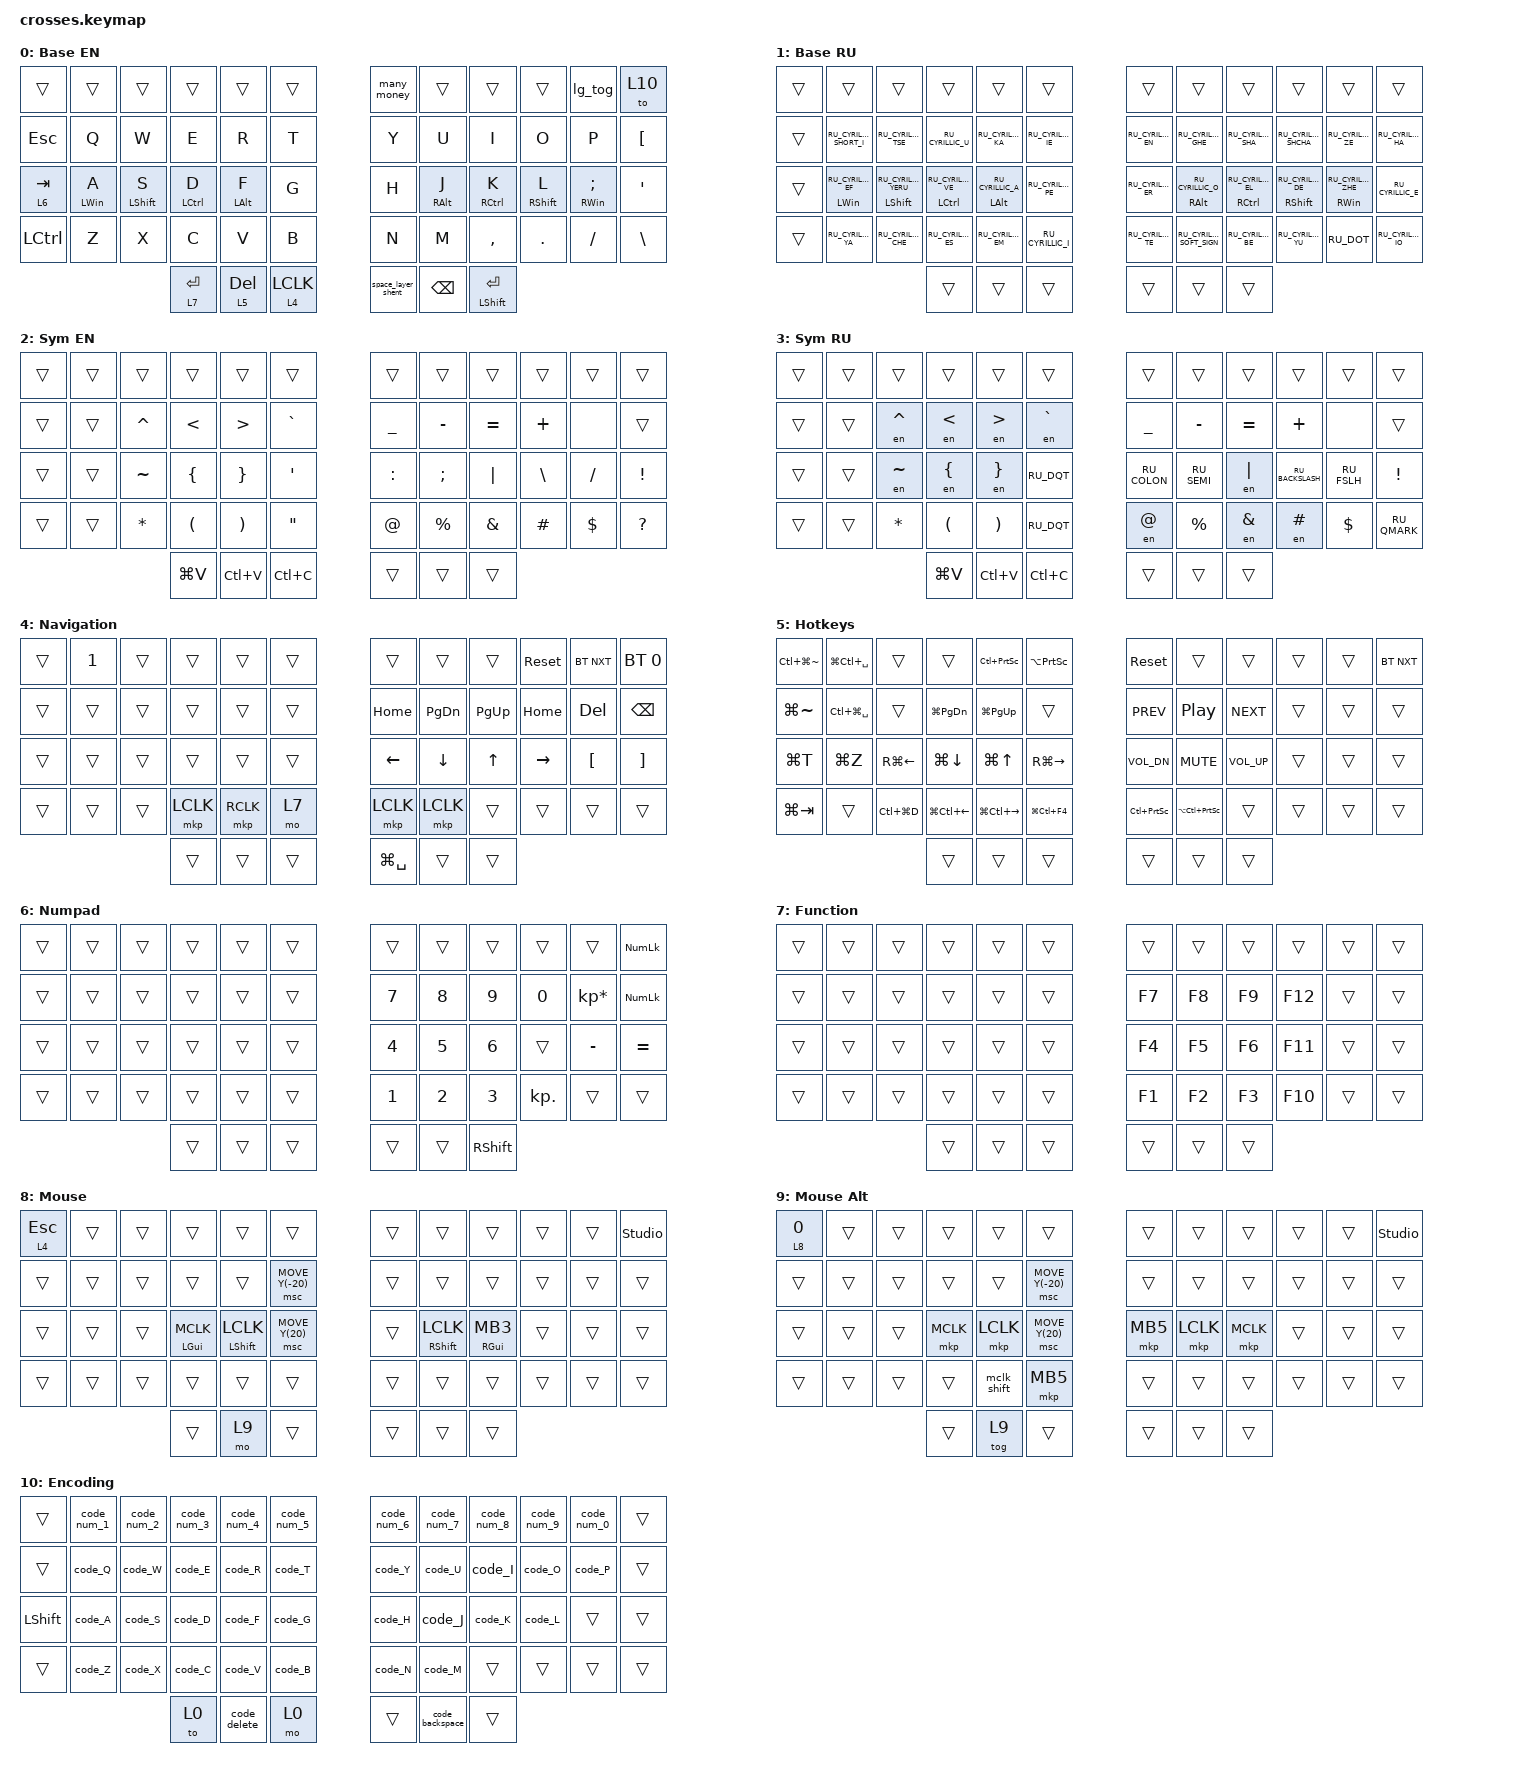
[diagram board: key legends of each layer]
#include "keys_ru.h"
#include <input/processors.dtsi>
#include <dt-bindings/zmk/input_transform.h>
#include <dt-bindings/zmk/modifiers.h>
#include <behaviors.dtsi>
#include <dt-bindings/zmk/bt.h>
#include <dt-bindings/zmk/keys.h>
#include <dt-bindings/zmk/pointing.h>
#include <dt-bindings/zmk/mouse.h>
#include <zephyr/dt-bindings/input/input-event-codes.h>

&trackball_peripheral_split {
    input-processors = <&zip_ble_report_rate_limit>;
};

/ {
    /omit-if-no-ref/ zip_temp_layer: zip_temp_layer {
        compatible = "zmk,input-processor-temp-layer";
        #input-processor-cells = <2>;
        require-prior-idle-ms = <500>;
    };
};

&trackball_central_listener {
    input-processors = <&zip_temp_layer 8 350>, <&zip_ble_report_rate_limit>;
};

&msc {
    x-input-code = <INPUT_REL_HWHEEL>;
    y-input-code = <INPUT_REL_WHEEL>;
    time-to-max-speed-ms = <800>;
    acceleration-exponent = <5>;
    trigger-period-ms = <8>;
};

/ {
    chosen { zmk,physical-layout = &gggw_crosses_54_layout; };

    behaviors {
        space_layer_shent: space_layer_shent {
            compatible = "zmk,behavior-tap-dance";
            label = "SPACE_LAYER_SHENT";
            #binding-cells = <0>;
            bindings = <&lt 4 SPACE>, <&kp LS(ENTER)>;
        };

        td_M: td_M {
            compatible = "zmk,behavior-tap-dance";
            label = "TD_M";
            #binding-cells = <0>;
            bindings = <&kp M>, <&kp RIGHT_BRACKET>;
        };

        lt_mkp: lt_mkp {
            compatible = "zmk,behavior-hold-tap";
            label = "LT_MKP";
            #binding-cells = <2>;
            flavor = "tap-preferred";
            tapping-term-ms = <200>;
            quick-tap-ms = <200>;
            require-prior-idle-ms = <125>;
            bindings = <&mo>, <&mkp>;
        };

        hrm_right: hrm_right {
            compatible = "zmk,behavior-hold-tap";
            label = "HRM_RIGHT";
            bindings = <&kp>, <&kp>;

            #binding-cells = <2>;
            tapping-term-ms = <200>;
            quick-tap-ms = <200>;
            require-prior-idle-ms = <125>;
            flavor = "tap-preferred";
            hold-trigger-key-positions = <0 1 2 4 5 3 12 13 14 15 16 17 29 28 27 26 25 24 36 37 38 39 40 41 48 49 50>;
            hold-trigger-on-release;
        };

        hrm_left: hrm_left {
            compatible = "zmk,behavior-hold-tap";
            label = "HRM_LEFT";
            bindings = <&kp>, <&kp>;

            #binding-cells = <2>;
            tapping-term-ms = <200>;
            quick-tap-ms = <200>;
            require-prior-idle-ms = <125>;
            flavor = "tap-preferred";
            hold-trigger-key-positions = <47 7 20 9 21 33 33 46 34 22 10 11 23 35 45 8 32 44 43 42 30 31 19 18 6 51 52 53>;
            hold-trigger-on-release;
        };

        backspace: backspace {
            compatible = "zmk,behavior-tap-dance";
            label = "BACKSPACE";
            #binding-cells = <0>;
            bindings = <&mt BACKSPACE BACKSPACE>, <&kp LC(BACKSPACE)>;
        };

        code_backspace: code_backspace {
            compatible = "zmk,behavior-macro";
            label = "CODE_BACKSPACE";
            #binding-cells = <0>;
            bindings = <&kp BACKSPACE &kp BACKSPACE &kp BACKSPACE &kp BACKSPACE>;
        };

        code_delete: code_delete {
            compatible = "zmk,behavior-macro";
            label = "CODE_DELETE";
            #binding-cells = <0>;
            bindings = <&kp DELETE &kp DELETE &kp DELETE &kp DELETE>;
        };

        lg_space: lg_space {
            compatible = "zmk,behavior-mod-morph";
            label = "LG_SPACE";
            #binding-cells = <0>;
            bindings = <&kp SPACE>, <&lg_tog>;

            mods = <(MOD_LGUI)>;
        };

        // DPI кнопки трекбола с зажатым Shift.
        mclk_shift: mclk_shift {
            compatible = "zmk,behavior-macro";
            #binding-cells = <0>;
            bindings = <&macro_press &kp LSHFT &mkp MCLK>,
                       <&macro_pause_for_release>,
                       <&macro_release &mkp MCLK &kp LSHFT>;
        };

        // Hold-Tap для сочетаний GUI/Shift + mouse-click.
        mclk_gui: mclk_gui {
            compatible = "zmk,behavior-hold-tap";
            #binding-cells = <2>;
            flavor = "balanced";
            tapping-term-ms = <200>;
            bindings = <&kp>, <&mkp>;
        };
    };

    combos {
        compatible = "zmk,combos";

        num_lauer {
            bindings = <&mo 6>;
            key-positions = <50 49>;
            timeout-ms = <200>;
            require-prior-idle-ms = <100>;
            slow-release;
        };

        en_sym {
            bindings = <&mo 2>;
            key-positions = <48 49>;
            timeout-ms = <120>;
            require-prior-idle-ms = <200>;
            slow-release;
            layers = <0>;
        };

        lang {
            bindings = <&lg_tog>;
            key-positions = <36 50>;
            timeout-ms = <150>;
        };

        ru_sym {
            bindings = <&mo 3>;
            key-positions = <48 49>;
            timeout-ms = <120>;
            slow-release;
            require-prior-idle-ms = <200>;
            layers = <1>;
        };

        rclk_combo {
            bindings = <&mkp LCLK>;
            key-positions = <19 20>;
        };

        lclk_combo {
            bindings = <&mkp RCLK>;
            key-positions = <19 21>;
        };

        terminal {
            bindings = <&kp LG(GRAVE)>;
            key-positions = <16 0>;
            timeout-ms = <150>;
            layers = <0>;
        };
    };

    macros {
        many_money: many_money {
            compatible = "zmk,behavior-macro";
            #binding-cells = <0>;
            bindings = <&none &kp LS(D) &kp O &kp C &kp K &kp E &kp R &kp SPACE &kp C &kp O &kp M &kp P &kp O &kp S &kp E &kp SPACE &kp LS(U) &kp LS(P) &kp SPACE &kp MINUS &kp D &kp SPACE &kp N7 &kp N2 &kp N3 &kp N0 &kp N5>;
            label = "MANY_MONEY";
        };

        lg_tog: lg_tog {
            compatible = "zmk,behavior-macro";
            #binding-cells = <0>;
            label = "LG_TOG";
            bindings = <&kp LG(SPACE) &tog 1>;
            tap-ms = <30>;
            wait-ms = <0>;
        };

        to_ru: to_ru {
            compatible = "zmk,behavior-macro";
            #binding-cells = <0>;
            bindings = <&kp LG(SPACE)>;
            label = "TO_RU";
            wait-ms = <0>;
            tap-ms = <30>;
        };

        to_en: to_en {
            compatible = "zmk,behavior-macro";
            #binding-cells = <0>;
            bindings = <&kp LG(SPACE)>;
            label = "TO_EN";
            wait-ms = <0>;
            tap-ms = <30>;
        };

        layer_en: layer_en {
            compatible = "zmk,behavior-macro";
            #binding-cells = <0>;
            bindings = <&to 0 &to_en>;
            label = "LAYER_EN";
            wait-ms = <0>;
            tap-ms = <30>;
        };

        layer_ru: layer_ru {
            compatible = "zmk,behavior-macro";
            #binding-cells = <0>;
            bindings = <&to 1 &to_ru>;
            label = "LAYER_RU";
            tap-ms = <30>;
            wait-ms = <0>;
        };

        en: en {
            compatible = "zmk,behavior-macro-one-param";
            #binding-cells = <1>;
            bindings =
                <&to_en>,
                <&macro_press>,
                <&macro_param_1to1 &kp MACRO_PLACEHOLDER>,
                <&macro_pause_for_release>,
                <&macro_release>,
                <&macro_param_1to1 &kp MACRO_PLACEHOLDER>,
                <&macro_tap>,
                <&to_ru>;

            label = "EN";
            wait-ms = <0>;
            tap-ms = <30>;
        };

        #include "encoding_macros.dtsi"
    };

    keymap {
        compatible = "zmk,keymap";

        base_en {
            display-name = "Base EN";
            bindings = <
&trans      &trans                &trans                  &trans             &trans                &trans          &many_money         &trans                  &trans                &trans                    &lg_tog                         &to 10
&kp ESCAPE  &kp Q                 &kp W                   &kp E              &kp R                 &kp T           &kp Y               &kp U                   &kp I                 &kp O                     &kp P                           &kp LEFT_BRACKET
&lt 6 TAB   &hrm_left LEFT_WIN A  &hrm_left LEFT_SHIFT S  &hrm_left LCTRL D  &hrm_left LEFT_ALT F  &kp G           &kp H               &hrm_right RIGHT_ALT J  &hrm_right RCTRL K    &hrm_right RIGHT_SHIFT L  &hrm_right RIGHT_WIN SEMICOLON  &kp SQT
&kp LCTRL   &kp Z                 &kp X                   &kp C              &kp V                 &kp B           &kp N               &kp M                   &kp COMMA             &kp DOT                   &kp FSLH                        &kp BACKSLASH
                                                          &lt 7 ENTER        &lt 5 DEL             &lt_mkp 4 LCLK  &space_layer_shent  &kp BACKSPACE           &mt LEFT_SHIFT ENTER
            >;
        };

        base_ru {
            display-name = "Base RU";
            bindings = <
&trans  &trans                             &trans                                 &trans                          &trans                            &trans              &trans              &trans                              &trans                           &trans                                 &trans                                &trans
&trans  &kp RU_CYRILLIC_SHORT_I            &kp RU_CYRILLIC_TSE                    &kp RU_CYRILLIC_U               &kp RU_CYRILLIC_KA                &kp RU_CYRILLIC_IE  &kp RU_CYRILLIC_EN  &kp RU_CYRILLIC_GHE                 &kp RU_CYRILLIC_SHA              &kp RU_CYRILLIC_SHCHA                  &kp RU_CYRILLIC_ZE                    &kp RU_CYRILLIC_HA
&trans  &hrm_left LEFT_WIN RU_CYRILLIC_EF  &hrm_left LEFT_SHIFT RU_CYRILLIC_YERU  &hrm_left LCTRL RU_CYRILLIC_VE  &hrm_left LEFT_ALT RU_CYRILLIC_A  &kp RU_CYRILLIC_PE  &kp RU_CYRILLIC_ER  &hrm_right RIGHT_ALT RU_CYRILLIC_O  &hrm_right RCTRL RU_CYRILLIC_EL  &hrm_right RIGHT_SHIFT RU_CYRILLIC_DE  &hrm_right RIGHT_WIN RU_CYRILLIC_ZHE  &kp RU_CYRILLIC_E
&trans  &kp RU_CYRILLIC_YA                 &kp RU_CYRILLIC_CHE                    &kp RU_CYRILLIC_ES              &kp RU_CYRILLIC_EM                &kp RU_CYRILLIC_I   &kp RU_CYRILLIC_TE  &kp RU_CYRILLIC_SOFT_SIGN           &kp RU_CYRILLIC_BE               &kp RU_CYRILLIC_YU                     &kp RU_DOT                            &kp RU_CYRILLIC_IO
                                                                                  &trans                          &trans                            &trans              &trans              &trans                              &trans
            >;
        };

        sym_en {
            display-name = "Sym EN";
            bindings = <
&trans  &trans  &trans        &trans     &trans     &trans     &trans     &trans       &trans     &trans    &trans      &trans
&trans  &trans  &kp CARET     &kp LT     &kp GT     &kp GRAVE  &kp UNDER  &kp MINUS    &kp EQUAL  &kp PLUS  &none       &trans
&trans  &trans  &kp TILDE     &kp LBRC   &kp RBRC   &kp SQT    &kp COLON  &kp SEMI     &kp PIPE   &kp BSLH  &kp FSLH    &kp EXCL
&trans  &trans  &kp ASTERISK  &kp LPAR   &kp RPAR   &kp DQT    &kp AT     &kp PERCENT  &kp AMPS   &kp HASH  &kp DOLLAR  &kp QUESTION
                              &kp LG(V)  &kp LC(V)  &kp LC(C)  &trans     &trans       &trans
            >;
        };

        sym_ru {
            display-name = "Sym RU";
            bindings = <
&trans  &trans  &trans     &trans     &trans     &trans      &trans        &trans       &trans     &trans            &trans       &trans
&trans  &trans  &en CARET  &en LT     &en GT     &en GRAVE   &kp UNDER     &kp MINUS    &kp EQUAL  &kp PLUS          &none        &trans
&trans  &trans  &en TILDE  &en LBRC   &en RBRC   &kp RU_DQT  &kp RU_COLON  &kp RU_SEMI  &en PIPE   &kp RU_BACKSLASH  &kp RU_FSLH  &kp EXCL
&trans  &trans  &kp STAR   &kp LPAR   &kp RPAR   &kp RU_DQT  &en AT        &kp PRCNT    &en AMPS   &en HASH          &kp DOLLAR   &kp RU_QMARK
                           &kp LG(V)  &kp LC(V)  &kp LC(C)   &trans        &trans       &trans
            >;
        };

        nav_layer {
            display-name = "Navigation";
            bindings = <
&trans  &kp N1  &trans  &trans     &trans     &trans  &trans          &trans          &trans        &sys_reset  &bt BT_NXT        &bt BT_SEL 0
&trans  &trans  &trans  &trans     &trans     &trans  &kp HOME        &kp PAGE_DOWN   &kp PAGE_UP   &kp HOME    &kp DELETE        &kp BACKSPACE
&trans  &trans  &trans  &trans     &trans     &trans  &kp LEFT_ARROW  &kp DOWN_ARROW  &kp UP_ARROW  &kp RIGHT   &kp LEFT_BRACKET  &kp RIGHT_BRACKET
&trans  &trans  &trans  &mkp LCLK  &mkp RCLK  &mo 7   &mkp LCLK       &mkp LCLK       &trans        &trans      &trans            &trans
                        &trans     &trans     &trans  &kp LG(SPACE)   &trans          &trans
            >;
        };

        hotkey_layer {
            display-name = "Hotkeys";
            bindings = <
&kp LC(LG(TILDE))  &kp LG(LC(SPACE))  &trans              &trans              &kp LC(PRINTSCREEN)  &kp LA(PRINTSCREEN)  &sys_reset           &trans                   &trans           &trans  &trans  &bt BT_NXT
&kp LG(TILDE)      &kp LC(LG(SPACE))  &trans              &kp LG(PAGE_DOWN)   &kp LG(PAGE_UP)      &trans               &kp K_PREV           &kp C_PLAY_PAUSE         &kp C_NEXT       &trans  &trans  &trans
&kp LG(T)          &kp LG(Z)          &kp RG(LEFT_ARROW)  &kp LG(DOWN_ARROW)  &kp LG(UP_ARROW)     &kp RG(RIGHT)        &kp C_VOL_DN         &kp K_MUTE               &kp C_VOLUME_UP  &trans  &trans  &trans
&kp LG(TAB)        &trans             &kp LC(LG(D))       &kp LG(LC(LEFT))    &kp LG(LC(RIGHT))    &kp LG(LC(F4))       &kp LC(PRINTSCREEN)  &kp LA(LC(PRINTSCREEN))  &trans           &trans  &trans  &trans
                                                          &trans              &trans               &trans               &trans               &trans                   &trans
            >;
        };

        numpad_layer {
            display-name = "Numpad";
            bindings = <
&trans  &trans  &trans  &trans  &trans  &trans  &trans  &trans  &trans           &trans      &trans           &kp KP_NUM
&trans  &trans  &trans  &trans  &trans  &trans  &kp N7  &kp N8  &kp N9           &kp N0      &kp KP_MULTIPLY  &kp KP_NUMLOCK
&trans  &trans  &trans  &trans  &trans  &trans  &kp N4  &kp N5  &kp N6           &trans      &kp MINUS        &kp EQUAL
&trans  &trans  &trans  &trans  &trans  &trans  &kp N1  &kp N2  &kp N3           &kp KP_DOT  &trans           &trans
                        &trans  &trans  &trans  &trans  &trans  &kp RIGHT_SHIFT
            >;
        };

        function_layer {
            display-name = "Function";
            bindings = <
&trans  &trans  &trans  &trans  &trans  &trans  &trans  &trans  &trans  &trans   &trans  &trans
&trans  &trans  &trans  &trans  &trans  &trans  &kp F7  &kp F8  &kp F9  &kp F12  &trans  &trans
&trans  &trans  &trans  &trans  &trans  &trans  &kp F4  &kp F5  &kp F6  &kp F11  &trans  &trans
&trans  &trans  &trans  &trans  &trans  &trans  &kp F1  &kp F2  &kp F3  &kp F10  &trans  &trans
                        &trans  &trans  &trans  &trans  &trans  &trans
            >;
        };

        mouse {
            display-name = "Mouse";
            bindings = <
                &lt 4 ESC     &trans            &trans          &trans          &trans          &trans                      &trans          &trans          &trans          &trans           &trans             &studio_unlock
                &trans        &trans            &trans          &trans          &trans          &msc MOVE_Y(-20)            &trans          &trans          &trans          &trans           &trans             &trans
                &trans        &trans            &trans          &mclk_gui LGUI MCLK &mclk_gui LSHFT LCLK &msc MOVE_Y(20)    &trans          &mclk_gui RSHFT LCLK &mclk_gui RGUI MB3 &trans   &trans             &trans
                &trans        &trans            &trans          &trans          &trans          &trans                      &trans          &trans          &trans          &trans           &trans             &trans
                                                                &trans          &mo 9           &trans                      &trans          &trans          &trans
            >;
        };

        sniper {
            display-name = "Mouse Alt";
            bindings = <
                &lt 8 0       &trans            &trans          &trans          &trans          &trans                      &trans          &trans          &trans          &trans           &trans             &studio_unlock
                &trans        &trans            &trans          &trans          &trans          &msc MOVE_Y(-20)            &trans          &trans          &trans          &trans           &trans             &trans
                &trans        &trans            &trans          &mkp MCLK       &mkp LCLK       &msc MOVE_Y(20)             &mkp MB5        &mkp LCLK       &mkp MCLK       &trans           &trans             &trans
                &trans        &trans            &trans          &trans          &mclk_shift     &mkp MB5                    &trans          &trans          &trans          &trans           &trans             &trans
                                                                &trans          &tog 9          &trans                      &trans          &trans          &trans
            >;
        };

        encoding_layer {
            display-name = "Encoding";
            bindings = <
&trans          &code_num_1  &code_num_2  &code_num_3  &code_num_4   &code_num_5  &code_num_6  &code_num_7      &code_num_8  &code_num_9  &code_num_0  &trans
&trans          &code_Q      &code_W      &code_E      &code_R       &code_T      &code_Y      &code_U          &code_I      &code_O      &code_P      &trans
&kp LEFT_SHIFT  &code_A      &code_S      &code_D      &code_F       &code_G      &code_H      &code_J          &code_K      &code_L      &trans       &trans
&trans          &code_Z      &code_X      &code_C      &code_V       &code_B      &code_N      &code_M          &trans       &trans       &trans       &trans
                                          &to 0        &code_delete  &mo 0        &trans       &code_backspace  &trans
            >;
        };
    };
};
